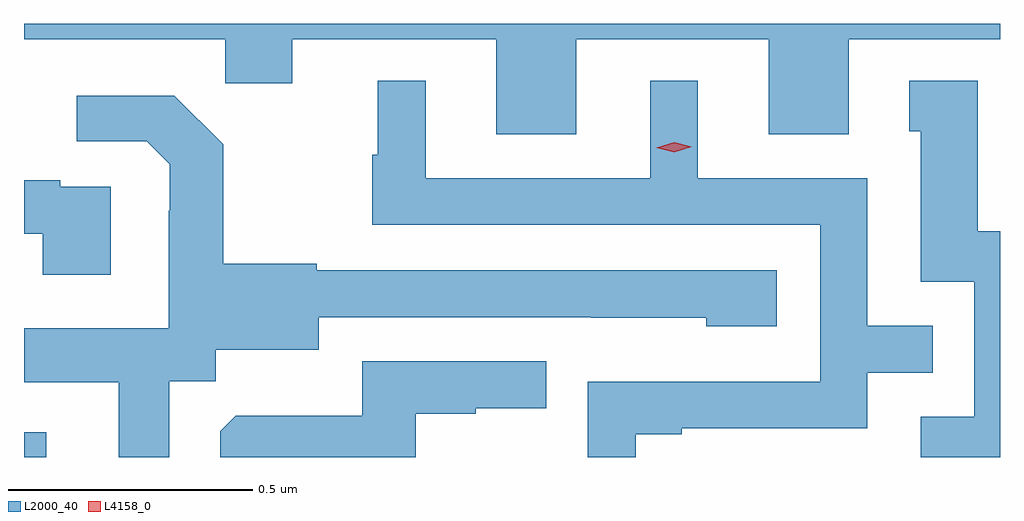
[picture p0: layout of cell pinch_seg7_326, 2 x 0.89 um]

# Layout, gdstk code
import gdstk
lib = gdstk.Library(unit=1e-6, precision=1e-09)
def R(c, l, rs):  # rectangles x0, y0, x1, y1
    for r in rs: c.add(gdstk.rectangle(r[:2], r[2:], *l))
def P(c, l, *ps):  # polygons
    for p in ps: c.add(gdstk.Polygon(p, *l))
L2000_40 = (2000, 40)
L4158_0 = (4158, 0)

pinch_seg7_326 = lib.new_cell('pinch_seg7_326')
R(pinch_seg7_326, L2000_40, [(605.577,1081.012,605.623,1081.063)])
P(pinch_seg7_326, L2000_40, [(606.709,1081.868),(607.103,1081.868),(607.103,1081.674),(607.267,1081.674),(607.267,1081.868),(607.577,1081.868),(607.577,1081.9),(605.577,1081.9),(605.577,1081.868),(605.989,1081.868),(605.989,1081.778),(606.127,1081.778),(606.127,1081.868),(606.545,1081.868),(606.545,1081.674),(606.709,1081.674)],
  [(607.577,1081.475),(607.531,1081.475),(607.531,1081.783),(607.391,1081.783),(607.391,1081.68),(607.415,1081.68),(607.415,1081.371),(607.524,1081.371),(607.524,1081.095),(607.415,1081.095),(607.415,1081.012),(607.577,1081.012)],
  [(606.831,1081.059),(606.925,1081.059),(606.925,1081.071),(607.305,1081.071),(607.305,1081.185),(607.439,1081.185),(607.439,1081.281),(607.305,1081.281),(607.305,1081.584),(606.958,1081.584),(606.958,1081.783),(606.86,1081.783),(606.86,1081.584),(606.4,1081.584),(606.4,1081.783),(606.302,1081.783),(606.302,1081.632),(606.291,1081.632),(606.291,1081.488),(607.209,1081.488),(607.209,1081.167),(606.732,1081.167),(606.732,1081.012),(606.831,1081.012)],
  [(605.875,1081.168),(605.97,1081.168),(605.97,1081.232),(606.181,1081.232),(606.181,1081.299),(606.739,1081.299),(606.739,1081.298),(606.975,1081.298),(606.975,1081.28),(607.12,1081.28),(607.12,1081.395),(606.177,1081.395),(606.177,1081.408),(605.985,1081.408),(605.985,1081.653),(605.885,1081.753),(605.685,1081.753),(605.685,1081.659),(605.829,1081.659),(605.876,1081.612),(605.876,1081.517),(605.874,1081.517),(605.874,1081.276),(605.577,1081.276),(605.577,1081.166),(605.771,1081.166),(605.771,1081.012),(605.875,1081.012)],
  [(605.755,1081.566),(605.651,1081.566),(605.651,1081.579),(605.577,1081.579),(605.577,1081.47),(605.615,1081.47),(605.615,1081.386),(605.755,1081.386)],
  [(606.38,1081.101),(606.503,1081.101),(606.503,1081.112),(606.647,1081.112),(606.647,1081.209),(606.27,1081.209),(606.27,1081.097),(606.011,1081.097),(605.979,1081.065),(605.979,1081.012),(606.38,1081.012)])
P(pinch_seg7_326, L4158_0, [(606.909,1081.637),(606.873,1081.646),(606.873,1081.646),(606.873,1081.646),(606.909,1081.657),(606.945,1081.648),(606.945,1081.648),(606.945,1081.648)])

lib.write_gds('pinch_seg7_326.gds')
